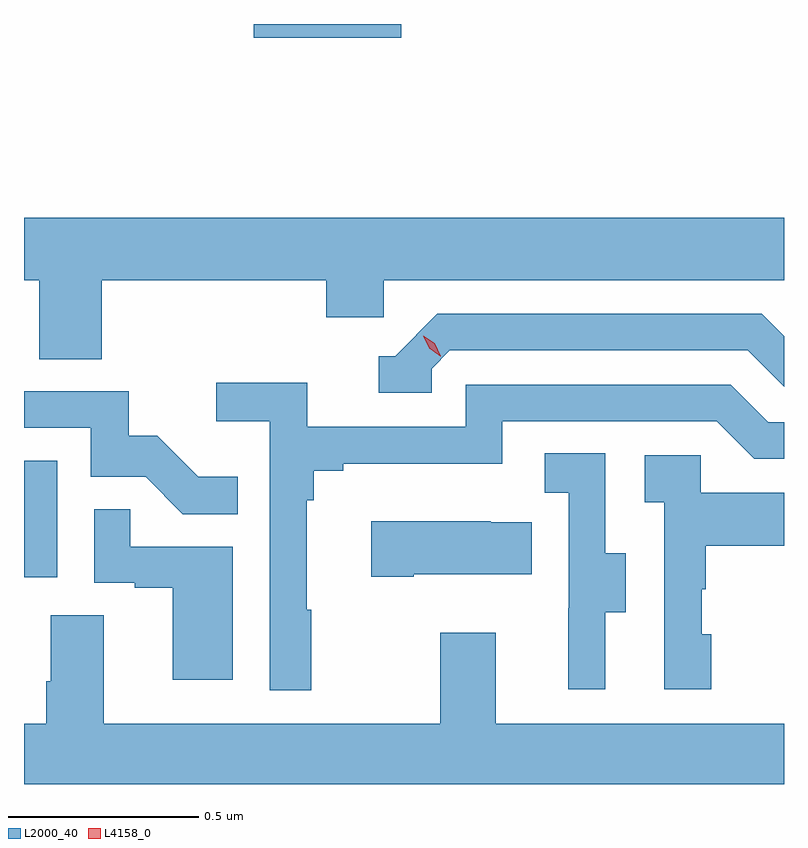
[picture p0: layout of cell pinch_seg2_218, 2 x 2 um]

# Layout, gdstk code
import gdstk
lib = gdstk.Library(unit=1e-6, precision=1e-09)
def R(c, l, rs):  # rectangles x0, y0, x1, y1
    for r in rs: c.add(gdstk.rectangle(r[:2], r[2:], *l))
def P(c, l, *ps):  # polygons
    for p in ps: c.add(gdstk.Polygon(p, *l))
L2000_40 = (2000, 40)
L4158_0 = (4158, 0)

pinch_seg2_218 = lib.new_cell('pinch_seg2_218')
R(pinch_seg2_218, L2000_40, [(972.145,649.518,972.232,649.825), (972.75,650.938,973.138,650.974)])
P(pinch_seg2_218, L2000_40, [(972.35,650.3),(972.941,650.3),(972.941,650.202),(973.092,650.202),(973.092,650.3),(974.145,650.3),(974.145,650.464),(972.145,650.464),(972.145,650.3),(972.185,650.3),(972.185,650.092),(972.35,650.092)],
  [(973.218,650.067),(973.266,650.115),(974.049,650.115),(974.145,650.019),(974.145,650.152),(974.086,650.211),(973.233,650.211),(973.122,650.1),(973.079,650.1),(973.079,650.004),(973.218,650.004)],
  [(972.901,649.433),(972.889,649.433),(972.889,649.721),(972.908,649.721),(972.908,649.798),(972.985,649.798),(972.985,649.817),(973.404,649.817),(973.404,649.929),(973.968,649.929),(974.067,649.83),(974.145,649.83),(974.145,649.926),(974.104,649.926),(974.005,650.025),(973.308,650.025),(973.308,649.914),(972.89,649.914),(972.89,650.03),(972.651,650.03),(972.651,649.928),(972.792,649.928),(972.792,649.221),(972.901,649.221)],
  [(972.707,649.783),(972.603,649.783),(972.496,649.89),(972.42,649.89),(972.42,650.007),(972.145,650.007),(972.145,649.911),(972.321,649.911),(972.321,649.782),(972.465,649.782),(972.563,649.684),(972.707,649.684)],
  [(973.675,649.426),(973.729,649.426),(973.729,649.581),(973.674,649.581),(973.674,649.844),(973.515,649.844),(973.515,649.741),(973.578,649.741),(973.578,649.437),(973.577,649.437),(973.577,649.224),(973.675,649.224)],
  [(973.954,649.368),(973.929,649.368),(973.929,649.487),(973.939,649.487),(973.939,649.601),(974.145,649.601),(974.145,649.741),(973.926,649.741),(973.926,649.839),(973.779,649.839),(973.779,649.715),(973.83,649.715),(973.83,649.224),(973.954,649.224)],
  [(972.694,649.599),(972.425,649.599),(972.425,649.697),(972.33,649.697),(972.33,649.503),(972.437,649.503),(972.437,649.491),(972.536,649.491),(972.536,649.248),(972.694,649.248)],
  [(973.171,649.526),(973.481,649.526),(973.481,649.663),(973.373,649.663),(973.373,649.666),(973.059,649.666),(973.059,649.519),(973.171,649.519)],
  [(974.145,649.132),(973.387,649.132),(973.387,649.372),(973.24,649.372),(973.24,649.132),(972.355,649.132),(972.355,649.418),(972.215,649.418),(972.215,649.244),(972.203,649.244),(972.203,649.132),(972.145,649.132),(972.145,648.974),(974.145,648.974)])
P(pinch_seg2_218, L4158_0, [(973.241,650.1),(973.211,650.121),(973.196,650.154),(973.196,650.154),(973.196,650.154),(973.226,650.134),(973.242,650.1),(973.242,650.1)])

lib.write_gds('pinch_seg2_218.gds')
